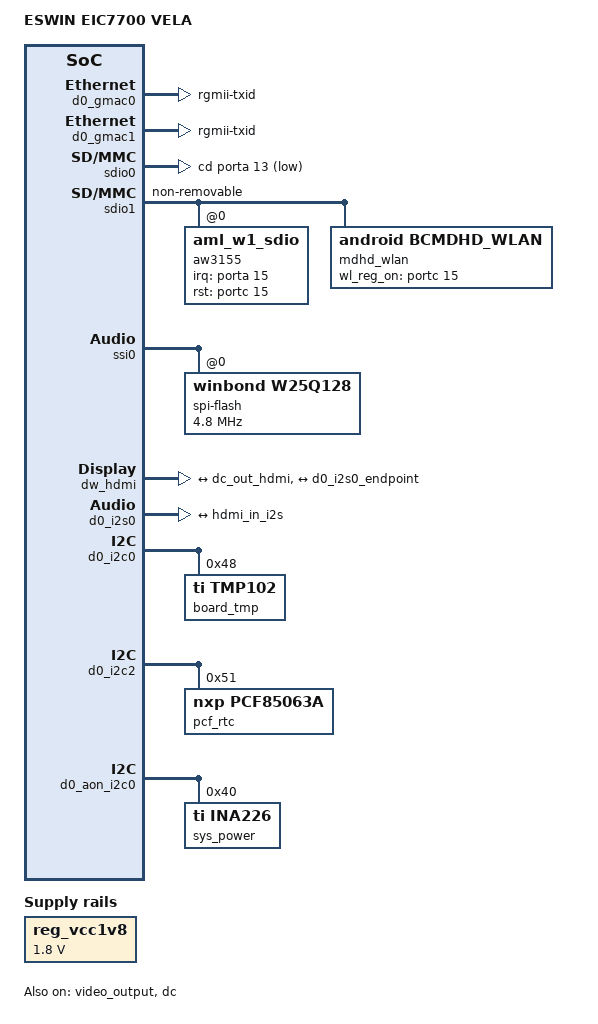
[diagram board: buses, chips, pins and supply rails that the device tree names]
// SPDX-License-Identifier: GPL-2.0
/*
 * Device Tree file for Eswin EIC7700 SoC.
 *
 * Copyright 2024, Beijing ESWIN Computing Technology Co., Ltd.. All rights reserved.
 * SPDX-License-Identifier: GPL-2.0
 *
 * This program is free software: you can redistribute it and/or modify
 * it under the terms of the GNU General Public License as published by
 * the Free Software Foundation, version 2.
 *
 * This program is distributed in the hope that it will be useful,
 * but WITHOUT ANY WARRANTY; without even the implied warranty of
 * MERCHANTABILITY or FITNESS FOR A PARTICULAR PURPOSE.  See the
 * GNU General Public License for more details.
 *
 * You should have received a copy of the GNU General Public License
 * along with this program.  If not, see <https://www.gnu.org/licenses/>.
 */

#include "eic7700-som260-a1.dtsi"
#include "eic7700-vela-camera-imx415.dtsi"

/ {
	#address-cells = <2>;
	#size-cells = <2>;
	model = "ESWIN EIC7700 VELA";

	reg_vcc1v8: vcc1v8 {
		compatible = "regulator-fixed";
		regulator-name = "vcc1v8";
		regulator-min-microvolt = <1800000>;
		regulator-max-microvolt = <1800000>;
	};
};

&d0_gmac0 {
	pinctrl-names = "default";
	pinctrl-0 = <&pinctrl_gpio80_default>;
	rst-gpios = <&portc 16 GPIO_ACTIVE_LOW>;
	phy-mode = "rgmii-txid";
	dly-param-1000m = <0x23232323 0xa0209023 0x20202020>;
	dly-param-100m = <0x50505050 0x803f8050 0x3f3f3f3f>;
	dly-param-10m = <0 0 0>;
};

&d0_gmac1 {
	pinctrl-names = "default";
	pinctrl-0 = <&pinctrl_gpio81_default>;
	rst-gpios = <&portc 17 GPIO_ACTIVE_LOW>;
	phy-mode = "rgmii-txid";
	dly-param-1000m = <0x00000000 0xe002e000 0x04040404>;
	dly-param-100m = <0x48484848 0x80588048 0x58585858>;
	dly-param-10m = <0 0 0>;
};


&pcie {
	pinctrl-names = "default";
	pinctrl-0 = <&pinctrl_gpio10_default>;
	pci-prsnt = <&porta 10 GPIO_ACTIVE_LOW>;
};

&sdio0 {
	/* sd card */
	delay_code = <0x3b>;
	drive-impedance-ohm = <33>;
	enable-cmd-pullup;
	enable-data-pullup;
	no-sdio;
	no-mmc;
	pinctrl-names = "default";
	pinctrl-0 = <&pinctrl_gpio13_default>;
	cd-gpios = <&porta 13 GPIO_ACTIVE_LOW>;
};

&sdio1 {
	/* wifi module */
	delay_code = <0x32>;
	drive-impedance-ohm = <33>;
	enable-cmd-pullup;
	enable-data-pullup;
	keep-power-in-suspend;
	non-removable;
	no-sd;
	no-mmc;
	vqmmc-supply = <&reg_vcc1v8>;
	aw3155:wifi_aw3155@0 {
		compatible = "aml_w1_sdio";
		reg = <0x0>;
		interrupt-parent = <&porta>;
		interrupts = <15 IRQ_TYPE_LEVEL_LOW>;
		pinctrl-names = "default", "default";
		pinctrl-0 = <&pinctrl_gpio15_default>;
		pinctrl-1 = <&pinctrl_gpio79_default>;
		irq-gpios = <&porta 15 GPIO_ACTIVE_HIGH>;
		rst-gpios = <&portc 15 GPIO_ACTIVE_HIGH>;

	};
	mdhd_wlan {
		compatible = "android,bcmdhd_wlan";
		pinctrl-names = "default";
		pinctrl-0 = <&pinctrl_gpio79_default>;
		gpio_wl_reg_on = <&portc 15 GPIO_ACTIVE_HIGH>;
	};
};

&ssi0 {
	status = "okay";
	pinctrl-names = "default";
	pinctrl-0 = <&pinctrl_dual_spi1_default>;
	num-cs = <1>;
	spi-flash@0 {
		compatible = "winbond,w25q128",
					"jedec,spi-nor";
		reg = <0>;
		#address-cells = <1>;
		#size-cells = <1>;
		spi-max-frequency = <4800000>;
		rx-sample-delay-ns = <10>;
	};
};

&ssi1 {
	/* unused */
	status = "disabled";
};

&d0_graphcard1 {
	status = "disabled";
	label = "Analog Audio-0";
};

&d0_graphcard2 {
	status = "disabled";
};

&video_output {
	status = "okay";
};

&dc {
	status = "okay";
	dc_out: port {
		#address-cells = <1>;
		#size-cells = <0>;
		dc_out_dpi: endpoint@0 {
			reg = <0>;
			remote-endpoint = <&vd_input>;
		};
		dc_out_hdmi: endpoint@1 {
			reg = <1>;
			remote-endpoint = <&hdmi_in_dc>;
		};
	};
};

&dw_hdmi {
	status = "okay";
	ports {
		#address-cells = <1>;
		#size-cells = <0>;
		port@0 {
			reg = <0>;
			hdmi_in_dc: endpoint@0 {
				remote-endpoint = <&dc_out_hdmi>;
			};
		};
		port@2 {
			reg = <2>;
			hdmi_in_i2s: endpoint@1 {
				system-clock-frequency = <12288000>;
				remote-endpoint = <&d0_i2s0_endpoint>;
			};
		};
	};
};

&d0_i2s0 {
	status = "okay";
	d0_i2s0_port: port {
		d0_i2s0_endpoint: endpoint {
			remote-endpoint = <&hdmi_in_i2s>;
			dai-format = "i2s";
		};
	};
};

&d0_i2s1 {
	status = "disabled";
};

&d0_i2s2 {
	status = "disabled";
};

&d0_i2c0 {
	/* pin header */
	status = "okay";
	tmp102@48 {
		compatible = "ti,tmp102";
		reg = <0x48>;
		label = "board_tmp";
		#thermal-sensor-cells = <1>;
	};
};

&d0_i2c1 {
	/* rtc rs4c411 & mipi dsi */

};

&d0_i2c2 {
	status = "okay";
	pcf_rtc:rtc@51 {
		compatible = "nxp,pcf85063a";
		reg = <0x51>;
	};
};

&d0_aon_i2c0 {
	sys_power:ina226@40 {
		compatible = "ti,ina226";
		#io-channel-cells = <1>;
		label = "sys_power";
		reg = <0x40>;
		shunt-resistor = <1000>;
	};
};

&pinctrl {
	status = "okay";
	pinctrl-names = "default";
	pinctrl-0 = <&pinctrl_gpio1_default &pinctrl_gpio2_default &pinctrl_gpio3_default &pinctrl_gpio4_default
			&pinctrl_gpio7_default &pinctrl_gpio8_default &pinctrl_gpio9_default &pinctrl_gpio10_default
			&pinctrl_gpio22_default &pinctrl_gpio30_default &pinctrl_gpio31_default &pinctrl_gpio32_default
			&pinctrl_gpio33_default &pinctrl_gpio39_default &pinctrl_gpio40_default &pinctrl_gpio41_default
			&pinctrl_gpio73_default &pinctrl_gpio74_default &pinctrl_gpio75_default>;
};

/******** pin headers *********
     pin : function
       3 : I2C0 SDA(GPIO45)
       5 : I2C0 SCL(GPIO44)
       7 : GPIO22(I2S_MCLK)
       8 : UART3 TX(GPIO92)
      10 : UART3 RX(GPIO93)
      11 : GPIO9
      12 : GPIO30(I2S1_BCLK)
      13 : GPIO1
      15 : GPIO8
      16 : GPIO10
      18 : GPIO4
      19 : SPI1 D0(GPIO37/UART4 TX)
      21 : SPI1 D1(GPIO38/UART4 RX)
      22 : GPIO3
      23 : SPI1 CLK(GPIO36)
      24 : SPI1 CS0(GPIO35)
      26 : GPIO41(SPI1 CS1)
      27 : I2C10 SDA(GPIO103)
      28 : I2C10 SCL(GPIO102)
      29 : GPIO7
      31 : GPIO73
      32 : GPIO39(SPI1 D2)
      33 : GPIO74
      35 : GPIO31(I2S1_WCLK)
      36 : GPIO40(SPI1 D3)
      37 : GPIO2
      38 : GPIO32(I2S1_SDI)
      40 : GPIO33(I2S1_SDO)
*********************************/

/* GPIO Function Description
	gpio0   : touch int(I)
	gpio5   : 5g wake on host(I)
	gpio6   : 5g disable2(O)
	gpio7   : mipi dsi ctrl(O)
	gpio8   : 5g disable1(O)
	gpio9   : rk628 plugin detect(I)
	gpio10  : pcie prsnt(I)
	gpio12  : bt wake host(I)
	gpio15  : wlan wake host(I)
	gpio26  : ap backup(I)
	gpio39  : lora busy(I)
	gpio41  : host wake bt(I)
	gpio70  : rk628 int(I)
	gpio71  : rk628 reset(O)
	gpio73  : rk628 power enable(O)
	gpio74  : 5g pwren(O)
	gpio76  : eth rset(O)
	gpio77  : lora nreset(O)
	gpio79  : m2 power on(O)
	gpio80  : lora ctrl2(O)
	gpio81  : lora ctrl1(O)
	gpio92  : touch rstn(O)
	gpio93  : 5g reset(O)
*/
